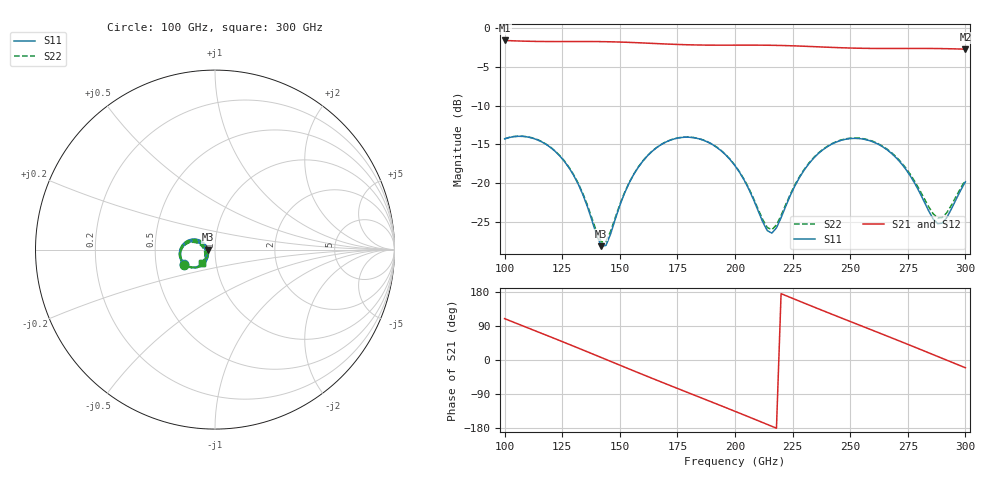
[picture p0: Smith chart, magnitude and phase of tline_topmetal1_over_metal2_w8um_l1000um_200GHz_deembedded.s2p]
! Created with skrf 2.2.0 (http://scikit-rf.org).
# GHz S DB R 50.0
! Port[1] = P1
! Port[2] = P2
!freq dBS11 angS11 dBS21 angS21 dBS12 angS12 dBS22 angS22
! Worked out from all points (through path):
!   101 points, 100 GHz to 300 GHz, reference 50 ohm
!   highest |S21| = -1.56 dB at 100 GHz (marker M1); lowest = -2.7 dB at 300 GHz (marker M2)
!   group delay of S21, straight-line fit = 6.8 ps
!   lowest |S11| = -28.2 dB at 142 GHz (marker M3), VSWR 1.08, Z = 46.2 - j0.0731 ohm
!   |S11| at or under -10 dB: start of sweep to end of sweep
!   |S22| runs from -27.6 to -13.9 dB; largest |S21 - S12| = 1.4e-13
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100  -14.29 -154.9  -1.56 109.2  -1.56 109.2  -14.27 -154.4
108  -13.97 -171.4  -1.65 89.8  -1.65 89.8  -13.95 -170.7
116  -14.66 172.6  -1.69 70.5  -1.69 70.5  -14.62 173.4
126  -17.22 154.8  -1.70 46.1  -1.70 46.1  -17.16 156.1
134  -21.52 147.8  -1.70 26.4  -1.70 26.4  -21.37 149.6
142  -28.17 -178.8  -1.71 6.5  -1.71 6.5  -27.62 -178.0
144  -28.07 -158.0  -1.72 1.4  -1.72 1.4  -27.56 -158.7
154  -20.04 -127.5  -1.81 -23.6  -1.81 -23.6  -19.97 -128.2
168  -15.02 -147.8  -1.99 -58.1  -1.99 -58.1  -15.00 -147.6
176  -14.14 -162.8  -2.09 -77.4  -2.09 -77.4  -14.12 -162.3
184  -14.25 -177.9  -2.15 -96.7  -2.15 -96.7  -14.23 -177.2
200  -17.76 156.3  -2.17 -135.4  -2.17 -135.4  -17.71 157.7
216  -26.48 -166.2  -2.19 -175.0  -2.19 -175.0  -26.04 -165.6
224  -21.62 -132.2  -2.25 165.1  -2.25 165.1  -21.45 -132.7
234  -16.83 -137.9  -2.36 140.4  -2.36 140.4  -16.76 -137.8
244  -14.69 -153.8  -2.48 116.1  -2.48 116.1  -14.64 -153.3
252  -14.22 -167.9  -2.55 96.8  -2.55 96.8  -14.17 -167.1
268  -16.18 165.7  -2.60 58.4  -2.60 58.4  -16.09 167.3
278  -20.03 157.6  -2.59 34.0  -2.59 34.0  -19.79 160.1
288  -25.26 -173.1  -2.61 9.2  -2.61 9.2  -24.51 -172.2
292  -24.43 -149.5  -2.63 -0.7  -2.63 -0.7  -23.81 -151.0
300  -19.84 -133.9  -2.69 -20.5  -2.69 -20.5  -19.63 -135.6
